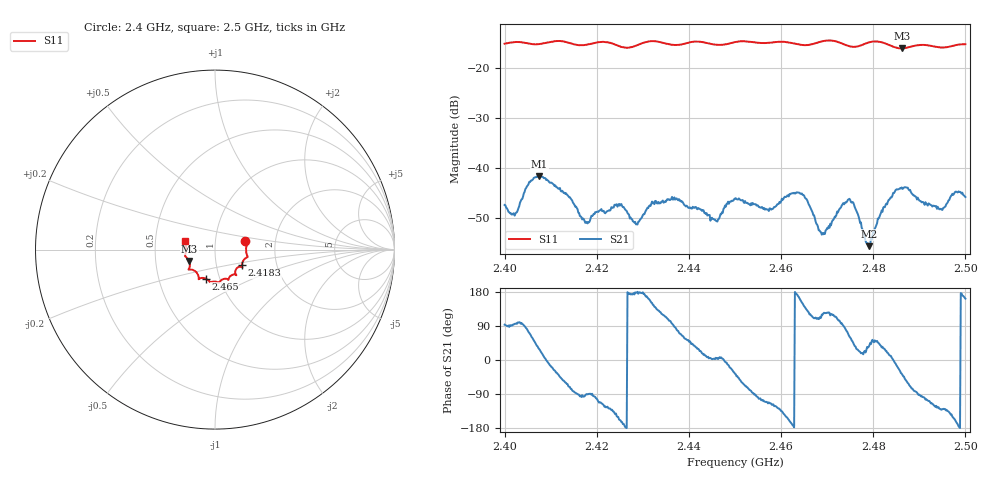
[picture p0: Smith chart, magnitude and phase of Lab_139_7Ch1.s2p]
# Hz S RI R 50
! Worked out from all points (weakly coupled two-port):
!   601 points, 2.4 GHz to 2.5 GHz, reference 50 ohm
!   highest |S21| = -41.57 dB at 2.4075 GHz (marker M1); lowest = -55.5 dB at 2.4792 GHz (marker M2)
!   lowest |S11| = -16.1 dB at 2.4862 GHz (marker M3), VSWR 1.37, Z = 37.2 - j4.82 ohm
!   |S11| at or under -10 dB: start of sweep to end of sweep
!   S12 and S22 are empty: the file has one direction only
!   S11 on the Smith chart (normalised r, x): 2.4 GHz: 1.40, +0.14; 2.4183 GHz: 1.33, -0.24; 2.465 GHz: 0.86, -0.28; 2.5 GHz: 0.71, +0.07
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2.4e9  0.1688 0.047  -0.000241 0.00431  0 0  0 0
2.402333e9  0.1785 0.0363  -0.000341 0.0035  0 0  0 0
2.4075e9  0.1735 -0.00971  0.0073 0.00405  0 0  0 0
2.416667e9  0.1547 -0.0681  -0.000431 -0.00322  0 0  0 0
2.418333e9  0.1502 -0.0868  3.76e-05 -0.00289  0 0  0 0
2.424833e9  0.1356 -0.0953  -0.00406 -0.00171  0 0  0 0
2.428667e9  0.1128 -0.1254  -0.00276 0.000104  0 0  0 0
2.433333e9  0.1175 -0.1408  -0.00301 0.0035  0 0  0 0
2.437333e9  0.0879 -0.1457  0.000862 0.00493  0 0  0 0
2.446e9  0.0535 -0.1623  0.00297 0.000205  0 0  0 0
2.45e9  0.0262 -0.18  0.00402 -0.00296  0 0  0 0
2.4575e9  -0.0136 -0.1784  -0.00162 -0.00363  0 0  0 0
2.465e9  -0.0523 -0.1612  -0.00419 0.00331  0 0  0 0
2.466667e9  -0.0712 -0.1576  -0.00165 0.00336  0 0  0 0
2.469167e9  -0.0895 -0.1635  -0.00119 0.00185  0 0  0 0
2.475167e9  -0.1024 -0.1282  0.00255 0.00382  0 0  0 0
2.479167e9  -0.1431 -0.111  0.00131 0.00104  0 0  0 0
2.483333e9  -0.1411 -0.0967  0.00466 0.00129  0 0  0 0
2.486167e9  -0.1439 -0.0632  0.00521 -0.00378  0 0  0 0
2.494667e9  -0.1604 -0.00077  -0.00256 -0.003  0 0  0 0
2.497667e9  -0.1652 0.0328  -0.00524 -0.0023  0 0  0 0
2.5e9  -0.1667 0.047  -0.00492 0.0016  0 0  0 0
